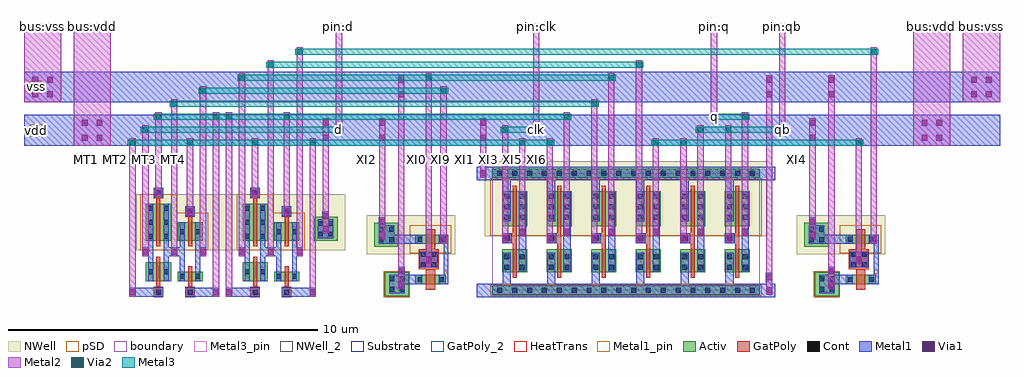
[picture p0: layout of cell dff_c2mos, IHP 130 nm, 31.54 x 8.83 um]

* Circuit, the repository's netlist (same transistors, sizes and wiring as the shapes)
** sch_path: /foss/designs/Designs/bidir-level-shifter/xschem/schematics/dff_c2mos.sch
.subckt dff_c2mos d clk q qb vdd vss
*.PININFO d:B q:B qb:B clk:B vdd:B vss:B
MMT1N net1 clkb d vss sg13_lv_nmos w=0.6u l=0.13u ng=1
MMT1P net1 clki d vdd sg13_lv_pmos w=1.2u l=0.13u ng=1
MMT3N net3 clki net2 vss sg13_lv_nmos w=0.6u l=0.13u ng=1
MMT3P net3 clkb net2 vdd sg13_lv_pmos w=1.2u l=0.13u ng=1
MMT2P net1 clkb net4 vdd sg13_lv_pmos w=0.6u l=0.13u ng=1
MMT2N net1 clki net4 vss sg13_lv_nmos w=0.3u l=0.13u ng=1
MMT4P net3 clki net5 vdd sg13_lv_pmos w=0.6u l=0.13u ng=1
MMT4N net3 clkb net5 vss sg13_lv_nmos w=0.3u l=0.13u ng=1
XI1 net2 net1 vdd vss sg13cmos5l_inv_1
XI3 net6 net3 vdd vss sg13cmos5l_inv_1
XI5 qb net6 vdd vss sg13cmos5l_inv_1
XI6 q qb vdd vss sg13cmos5l_inv_1
XI2 net2 net4 vdd vss INVLVW
XI4 net6 net5 vdd vss INVLVW
XI0 clkb clk vdd vss sg13cmos5l_inv_1
XI9 clki clkb vdd vss sg13cmos5l_inv_1
.ends

* expanding   symbol:  logic_gates/sg13cmos5l_inv_1.sym # of pins=4
** sym_path: /foss/designs/Designs/bidir-level-shifter/xschem/logic_gates/sg13cmos5l_inv_1.sym
** sch_path: /foss/designs/Designs/bidir-level-shifter/xschem/logic_gates/sg13cmos5l_inv_1.sch
.subckt sg13cmos5l_inv_1 Y A VDD VSS
*.PININFO Y:B A:B VDD:B VSS:B
MMN0 Y A VSS VSS sg13_lv_nmos w=0.74u l=0.13u ng=1
MMP0 Y A VDD VDD sg13_lv_pmos w=1.12u l=0.13u ng=1
.ends


* expanding   symbol:  logic_gates/INVLVW.sym # of pins=4
** sym_path: /foss/designs/Designs/bidir-level-shifter/xschem/logic_gates/INVLVW.sym
** sch_path: /foss/designs/Designs/bidir-level-shifter/xschem/logic_gates/INVLVW.sch
.subckt INVLVW a y vdd vss
*.PININFO vdd:B vss:B y:B a:B
MMP y a vdd vdd sg13_lv_pmos w=0.3u l=0.3u ng=1
MMN y a vss vss sg13_lv_nmos w=0.3u l=0.3u ng=1
.ends

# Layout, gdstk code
import gdstk
lib = gdstk.Library(unit=1e-6, precision=1e-09)
def R(c, l, rs):  # rectangles x0, y0, x1, y1
    for r in rs: c.add(gdstk.rectangle(r[:2], r[2:], *l))
def A(c, l, x, y, w, h, nx, ny, dx, dy):  # array of equal rectangles
    R(c, l, [(x+i*dx, y+j*dy, x+i*dx+w, y+j*dy+h) for i in range(nx) for j in range(ny)])
def P(c, l, *ps):  # polygons
    for p in ps: c.add(gdstk.Polygon(p, *l))
Activ = (1, 0)
GatPoly = (5, 0)
GatPoly_2 = (5, 2)
Cont = (6, 0)
Metal1 = (8, 0)
Metal1_pin = (8, 2)
Metal2 = (10, 0)
pSD = (14, 0)
Via1 = (19, 0)
Via2 = (29, 0)
Metal3 = (30, 0)
Metal3_pin = (30, 2)
NWell = (31, 0)
NWell_2 = (31, 2)
Substrate = (40, 0)
HeatTrans = (51, 0)
boundary = (189, 4)

nmos_1 = lib.new_cell('nmos$1')
R(nmos_1, Activ, [(0,0,0.3,0.3), (0,0,0.81,0.6), (0.51,0,0.81,0.3)])
R(nmos_1, GatPoly, [(0.34,-0.18,0.47,0.78)])
R(nmos_1, GatPoly_2, [(0.34,-0.18,0.47,0.78)])
R(nmos_1, Cont, [(0.07,0.22,0.23,0.38), (0.58,0.22,0.74,0.38)])
R(nmos_1, Metal1, [(0.07,0,0.23,0.6), (0.58,0,0.74,0.6)])
R(nmos_1, Metal1_pin, [(0.07,0,0.23,0.6), (0.58,0,0.74,0.6)])
R(nmos_1, HeatTrans, [(0.34,-0.18,0.47,0.78)])
nmos_1.add(gdstk.Label('nmos', (0.405,0.3), layer=63, texttype=0))
nmos_1.add(gdstk.Label('nmos', (0.405,0.3), layer=51, texttype=0))

pmos_1 = lib.new_cell('pmos$1')
R(pmos_1, Activ, [(0,0,0.3,0.3), (0,0,0.81,1.2), (0.51,0,0.81,0.3)])
R(pmos_1, GatPoly, [(0.34,-0.18,0.47,1.38), (0.34,-0.18,0.47,1.38)])
A(pmos_1, Cont, 0.07, 0.07, 0.16, 0.16, 1, 3, 0, 0.45)
A(pmos_1, Cont, 0.58, 0.07, 0.16, 0.16, 1, 3, 0, 0.45)
R(pmos_1, Metal1, [(0.07,0,0.23,1.2), (0.07,0,0.23,1.2), (0.58,0,0.74,1.2), (0.58,0,0.74,1.2)])
R(pmos_1, pSD, [(-0.18,-0.3,0.99,1.5)])
R(pmos_1, NWell, [(-0.31,-0.31,1.12,1.51)])
R(pmos_1, HeatTrans, [(0.34,-0.18,0.47,1.38)])
pmos_1.add(gdstk.Label('pmos', (0.405,0.6), layer=63, texttype=0))
pmos_1.add(gdstk.Label('pmos', (0.405,0.6), layer=51, texttype=0))

nmos_2 = lib.new_cell('nmos$2')
R(nmos_2, Activ, [(0,0,0.3,0.3), (0,0,0.81,0.3), (0.51,0,0.81,0.3)])
R(nmos_2, GatPoly, [(0.34,-0.18,0.47,0.48)])
R(nmos_2, GatPoly_2, [(0.34,-0.18,0.47,0.48)])
R(nmos_2, Cont, [(0.07,0.07,0.23,0.23), (0.58,0.07,0.74,0.23)])
R(nmos_2, Metal1, [(0.07,0,0.23,0.3), (0.58,0,0.74,0.3)])
R(nmos_2, Metal1_pin, [(0.07,0,0.23,0.3), (0.58,0,0.74,0.3)])
R(nmos_2, HeatTrans, [(0.34,-0.18,0.47,0.48)])
nmos_2.add(gdstk.Label('nmos', (0.405,0.15), layer=63, texttype=0))
nmos_2.add(gdstk.Label('nmos', (0.405,0.15), layer=51, texttype=0))

pmos_2 = lib.new_cell('pmos$2')
R(pmos_2, Activ, [(0,0,0.3,0.3), (0,0,0.81,0.6), (0.51,0,0.81,0.3)])
R(pmos_2, GatPoly, [(0.34,-0.18,0.47,0.78), (0.34,-0.18,0.47,0.78)])
R(pmos_2, Cont, [(0.07,0.22,0.23,0.38), (0.58,0.22,0.74,0.38)])
R(pmos_2, Metal1, [(0.07,0,0.23,0.6), (0.07,0,0.23,0.6), (0.58,0,0.74,0.6), (0.58,0,0.74,0.6)])
R(pmos_2, pSD, [(-0.18,-0.3,0.99,0.9)])
R(pmos_2, NWell, [(-0.31,-0.31,1.12,0.91)])
R(pmos_2, HeatTrans, [(0.34,-0.18,0.47,0.78)])
pmos_2.add(gdstk.Label('pmos', (0.405,0.3), layer=63, texttype=0))
pmos_2.add(gdstk.Label('pmos', (0.405,0.3), layer=51, texttype=0))

ntap1 = lib.new_cell('ntap1')
R(ntap1, Activ, [(0,0,0.78,0.78)])
R(ntap1, Cont, [(0.14,0.14,0.3,0.3), (0.48,0.14,0.64,0.3), (0.14,0.48,0.3,0.64), (0.48,0.48,0.64,0.64)])
R(ntap1, Metal1, [(0.14,0.09,0.64,0.69)])
R(ntap1, Metal1_pin, [(0.14,0.09,0.64,0.69), (0.14,0.14,0.64,0.64)])
R(ntap1, NWell, [(-0.24,-0.24,1.02,1.02), (0,0,0.78,0.78)])
R(ntap1, NWell_2, [(0,0,0.78,0.78)])
ntap1.add(gdstk.Label('well', (0.39,0.01), layer=31, texttype=0))
ntap1.add(gdstk.Label('well', (0.39,0.01), layer=63, texttype=0))

pmos = lib.new_cell('pmos')
R(pmos, Activ, [(0,0,0.3,0.3), (0,0,0.98,0.3), (0.68,0,0.98,0.3)])
R(pmos, GatPoly, [(0.34,-0.18,0.64,0.48), (0.34,-0.18,0.64,0.48)])
R(pmos, Cont, [(0.07,0.07,0.23,0.23), (0.75,0.07,0.91,0.23)])
R(pmos, Metal1, [(0.07,0,0.23,0.3), (0.07,0,0.23,0.3), (0.75,0,0.91,0.3), (0.75,0,0.91,0.3)])
R(pmos, pSD, [(-0.18,-0.3,1.16,0.6)])
R(pmos, NWell, [(-0.31,-0.31,1.29,0.61)])
R(pmos, HeatTrans, [(0.34,-0.18,0.64,0.48)])
pmos.add(gdstk.Label('pmos', (0.49,0.15), layer=63, texttype=0))
pmos.add(gdstk.Label('pmos', (0.49,0.15), layer=51, texttype=0))

nmos = lib.new_cell('nmos')
R(nmos, Activ, [(0,0,0.3,0.3), (0,0,0.98,0.3), (0.68,0,0.98,0.3)])
R(nmos, GatPoly, [(0.34,-0.18,0.64,0.48)])
R(nmos, GatPoly_2, [(0.34,-0.18,0.64,0.48)])
R(nmos, Cont, [(0.07,0.07,0.23,0.23), (0.75,0.07,0.91,0.23)])
R(nmos, Metal1, [(0.07,0,0.23,0.3), (0.75,0,0.91,0.3)])
R(nmos, Metal1_pin, [(0.07,0,0.23,0.3), (0.75,0,0.91,0.3)])
R(nmos, HeatTrans, [(0.34,-0.18,0.64,0.48)])
nmos.add(gdstk.Label('nmos', (0.49,0.15), layer=63, texttype=0))
nmos.add(gdstk.Label('nmos', (0.49,0.15), layer=51, texttype=0))

ptap1 = lib.new_cell('ptap1')
R(ptap1, Activ, [(0,0,0.78,0.78)])
R(ptap1, Cont, [(0.14,0.14,0.3,0.3), (0.48,0.14,0.64,0.3), (0.14,0.48,0.3,0.64), (0.48,0.48,0.64,0.64)])
R(ptap1, Metal1, [(0.14,0.09,0.64,0.69), (0.14,0.14,0.64,0.64)])
R(ptap1, Metal1_pin, [(0.14,0.14,0.64,0.64)])
R(ptap1, pSD, [(-0.03,-0.03,0.81,0.81)])
R(ptap1, Substrate, [(0,0,0.78,0.78)])
ptap1.add(gdstk.Label('sub!', (0.39,0.01), layer=63, texttype=0))
ptap1.add(gdstk.Label('sub!', (0.39,0.01), layer=40, texttype=0))

via_stack = lib.new_cell('via_stack')
R(via_stack, GatPoly, [(-0.32,-0.32,0.32,0.32)])
R(via_stack, Cont, [(-0.25,-0.25,-0.09,-0.09), (0.09,-0.25,0.25,-0.09), (-0.25,0.09,-0.09,0.25), (0.09,0.09,0.25,0.25)])
R(via_stack, Metal1, [(-0.3,-0.25,0.3,0.25)])

invlvw = lib.new_cell('invlvw')
R(invlvw, Metal1, [(1.22,0.43,1.64,0.73), (2.48,0.43,2.64,2.03), (0.88,1.73,1.64,2.03)])
R(invlvw, Metal1_pin, [(1.66,0.5,1.79,0.63), (2.49,0.76,2.62,0.89), (1.99,1.18,2.12,1.31), (1.655,1.815,1.785,1.945)])
R(invlvw, NWell, [(0,1.4,2.86,2.66)])
invlvw.add(gdstk.Reference(ntap1, (0.24,1.64)))
invlvw.add(gdstk.Reference(pmos, (1.57,1.73)))
invlvw.add(gdstk.Reference(nmos, (1.57,0.43)))
invlvw.add(gdstk.Reference(ptap1, (0.58,0.04)))
invlvw.add(gdstk.Reference(via_stack, (2,1.23)))
invlvw.add(gdstk.Label('vdd', (1.72,1.88), layer=8, texttype=25))
invlvw.add(gdstk.Label('a', (2.05,1.24), layer=8, texttype=25))
invlvw.add(gdstk.Label('vss', (1.724,0.574), layer=8, texttype=25))
invlvw.add(gdstk.Label('y', (2.543,0.833), layer=8, texttype=25))
invlvw.add(gdstk.Label('MMP', (1.26,2.13), layer=63, texttype=0))
invlvw.add(gdstk.Label('MMN', (1.601,0.771), layer=63, texttype=0))

sg13cmos5l_inv_1 = lib.new_cell('sg13cmos5l_inv_1')
R(sg13cmos5l_inv_1, Activ, [(0,-0.15,1.44,0.15), (0.31,0.59,1.12,1.33), (0.31,2.075,1.12,3.195), (0,3.63,1.44,3.93)])
P(sg13cmos5l_inv_1, GatPoly, [(0.65,0.41),(0.65,1.52),(0.31,1.52),(0.31,1.85),(0.65,1.85),(0.65,3.375),(0.78,3.375),(0.78,0.41)])
A(sg13cmos5l_inv_1, Cont, 0.38, 2.285, 0.16, 0.16, 1, 3, 0, 0.34)
A(sg13cmos5l_inv_1, Cont, 0.89, 2.285, 0.16, 0.16, 1, 3, 0, 0.34)
R(sg13cmos5l_inv_1, Cont, [(0.16,-0.08,0.32,0.08), (0.16,-0.08,0.32,0.08), (0.64,-0.08,0.8,0.08), (0.64,-0.08,0.8,0.08), (1.12,-0.08,1.28,0.08), (1.12,-0.08,1.28,0.08), (0.38,0.66,0.54,0.82), (0.89,0.66,1.05,0.82), (0.38,1,0.54,1.16), (0.89,1,1.05,1.16), (0.395,1.605,0.555,1.765), (0.16,3.7,0.32,3.86), (0.16,3.7,0.32,3.86), (0.64,3.7,0.8,3.86), (0.64,3.7,0.8,3.86), (1.12,3.7,1.28,3.86), (1.12,3.7,1.28,3.86)])
R(sg13cmos5l_inv_1, Metal1, [(0.855,0.61,1.085,3.175), (0.31,1.52,0.625,1.85)])
P(sg13cmos5l_inv_1, Metal1, [(0,-0.22),(0,0.22),(0.33,0.22),(0.33,1.21),(0.59,1.21),(0.59,0.22),(1.44,0.22),(1.44,-0.22)],
  [(0.33,2.235),(0.33,3.56),(0,3.56),(0,4),(1.44,4),(1.44,3.56),(0.59,3.56),(0.59,2.235)])
R(sg13cmos5l_inv_1, Metal1_pin, [(0,-0.22,1.44,0.22), (0.855,0.61,1.085,3.175), (0.31,1.52,0.625,1.85), (0,3.56,1.44,4)])
R(sg13cmos5l_inv_1, pSD, [(-0.07,-0.18,1.51,0.18), (-0.07,1.76,1.51,3.6)])
R(sg13cmos5l_inv_1, NWell, [(-0.24,1.75,1.68,4.17)])
R(sg13cmos5l_inv_1, boundary, [(0,0,1.44,3.78)])
sg13cmos5l_inv_1.add(gdstk.Label('VDD', (0.705,3.78), layer=8, texttype=25))
sg13cmos5l_inv_1.add(gdstk.Label('VSS', (0.72,-0.02), layer=8, texttype=25))
sg13cmos5l_inv_1.add(gdstk.Label('A', (0.48,1.68), layer=8, texttype=25))
sg13cmos5l_inv_1.add(gdstk.Label('Y', (0.98,1.69), layer=8, texttype=25))

dff_c2mos = lib.new_cell('dff_c2mos')
R(dff_c2mos, GatPoly, [(0.795,0.01,1.095,0.34), (1.815,0.01,2.115,0.34), (3.915,0.01,4.215,0.34), (4.935,0.01,5.235,0.34), (1.815,2.6,2.115,2.93), (4.935,2.6,5.235,2.93), (0.795,3.2,1.095,3.53), (3.915,3.2,4.215,3.53)])
R(dff_c2mos, Cont, [(0.865,0.08,1.025,0.24), (1.885,0.08,2.045,0.24), (3.985,0.08,4.145,0.24), (5.005,0.08,5.165,0.24), (1.885,2.7,2.045,2.86), (5.005,2.7,5.165,2.86), (0.865,3.3,1.025,3.46), (3.985,3.3,4.145,3.46)])
A(dff_c2mos, Metal1, 0.42, 1.325, 0.21, 0.29, 3, 1, 0.93, 0)
A(dff_c2mos, Metal1, 3.54, 1.325, 0.21, 0.29, 3, 1, 0.93, 0)
A(dff_c2mos, Metal1, 12.045, 1.76, 0.21, 0.29, 6, 1, 1.44, 0)
A(dff_c2mos, Metal1, 12.59, 1.965, 0.21, 0.29, 6, 1, 1.44, 0)
R(dff_c2mos, Metal1, [(0.795,0,1.095,0.32), (1.815,0,2.115,0.32), (3.915,0,4.215,0.32), (4.935,0,5.235,0.32), (11.235,0,11.735,0.44), (20.375,0,20.875,0.44), (0,0.015,0.945,0.305), (0,0.015,0.21,0.305), (0.21,0.015,0.945,0.305), (1.965,0.015,2.91,0.305), (1.965,0.015,2.7,0.305), (2.7,0.015,2.91,0.305), (3.12,0.015,4.065,0.305), (3.12,0.015,3.33,0.305), (3.33,0.015,4.065,0.305), (5.085,0.015,6.03,0.305), (5.085,0.015,5.82,0.305), (5.82,0.015,6.03,0.305), (20.57,0.075,20.78,0.365), (20.57,0.075,20.78,0.785), (8.685,0.275,8.895,0.565), (8.685,0.275,8.895,0.985), (22.585,0.275,22.795,0.565), (22.585,0.275,22.795,0.985), (0.61,0.52,0.77,3.02), (1.12,0.52,1.28,3.02), (1.63,0.52,1.79,2.42), (2.14,0.52,2.3,2.42), (3.73,0.52,3.89,3.02), (4.24,0.52,4.4,3.02), (4.75,0.52,4.91,2.42), (5.26,0.52,5.42,2.42), (9.57,1.075,9.78,1.365), (23.47,1.075,23.68,1.365), (0.42,1.325,0.77,1.615), (1.12,1.325,1.79,1.615), (2.14,1.325,2.49,1.615), (3.54,1.325,3.89,1.615), (4.24,1.325,4.91,1.615), (5.26,1.325,5.61,1.615), (10.05,1.725,10.26,2.015), (23.95,1.725,24.16,2.015), (8.07,1.875,8.28,2.165), (8.07,1.875,8.28,2.585), (21.97,1.875,22.18,2.165), (21.97,1.875,22.18,2.585), (6.24,2.065,6.45,2.355), (6.24,2.065,6.45,2.775), (1.815,2.62,2.115,2.94), (4.935,2.62,5.235,2.94), (1.86,2.635,2.07,2.925), (4.98,2.635,5.19,2.925), (0.795,3.22,1.095,3.54), (3.915,3.22,4.215,3.54), (0.84,3.235,1.05,3.525), (3.96,3.235,4.17,3.525), (11.235,3.78,11.735,4.22), (20.375,3.78,20.875,4.22), (11.33,3.855,11.54,4.145), (11.33,3.855,11.54,4.565), (-3.4,4.89,28.135,5.89), (-3.4,6.29,28.135,7.29)])
R(dff_c2mos, Metal1_pin, [(-3.2,5.19,-2.8,5.59), (-3.2,6.59,-2.8,6.99)])
R(dff_c2mos, Metal2, [(0.005,0.015,0.205,5.135), (2.705,0.015,2.905,5.975), (3.125,0.015,3.325,5.975), (5.825,0.015,6.025,5.135), (20.575,0.075,20.775,7.175), (8.69,0.275,8.89,7.175), (22.59,0.275,22.79,7.175), (9.575,1.075,9.775,7.235), (23.475,1.075,23.675,5.135), (0.425,1.325,0.625,5.555), (1.355,1.325,1.555,6.395), (2.285,1.325,2.485,6.815), (3.545,1.325,3.745,7.235), (4.475,1.325,4.675,7.655), (5.405,1.325,5.605,8.075), (10.055,1.725,10.255,6.815), (23.955,1.725,24.155,8.075), (12.05,1.76,12.25,5.555), (13.49,1.76,13.69,5.135), (14.93,1.76,15.13,6.395), (16.37,1.76,16.57,7.655), (17.81,1.76,18.01,5.135), (19.25,1.76,19.45,5.555), (8.075,1.875,8.275,5.775), (21.975,1.875,22.175,5.775), (12.595,1.965,12.795,5.135), (14.035,1.965,14.235,5.975), (15.475,1.965,15.675,7.235), (16.915,1.965,17.115,5.135), (18.355,1.965,18.555,5.555), (19.795,1.965,19.995,5.975), (6.245,2.065,6.445,5.775), (1.865,2.635,2.065,5.135), (4.985,2.635,5.185,5.975), (0.845,3.235,1.045,5.975), (3.965,3.235,4.165,5.135), (11.335,3.855,11.535,5.775), (-1.8,4.89,-0.6,8.83), (25.335,4.89,26.535,8.83), (6.675,5.265,6.875,8.83), (13.05,5.265,13.25,8.83), (21,5.265,21.2,8.83), (18.795,5.685,18.995,8.83), (-3.4,6.29,-2.2,8.83), (26.935,6.29,28.135,8.83)])
A(dff_c2mos, Via1, 0.43, 1.375, 0.19, 0.19, 3, 1, 0.93, 0)
A(dff_c2mos, Via1, 3.55, 1.375, 0.19, 0.19, 3, 1, 0.93, 0)
A(dff_c2mos, Via1, 12.055, 1.81, 0.19, 0.19, 6, 1, 1.44, 0)
A(dff_c2mos, Via1, 12.6, 2.015, 0.19, 0.19, 6, 1, 1.44, 0)
R(dff_c2mos, Via1, [(0.01,0.065,0.2,0.255), (2.71,0.065,2.9,0.255), (3.13,0.065,3.32,0.255), (5.83,0.065,6.02,0.255), (20.58,0.125,20.77,0.315), (8.695,0.325,8.885,0.515), (22.595,0.325,22.785,0.515), (20.58,0.545,20.77,0.735), (8.695,0.745,8.885,0.935), (22.595,0.745,22.785,0.935), (9.58,1.125,9.77,1.315), (23.48,1.125,23.67,1.315), (10.06,1.775,10.25,1.965), (23.96,1.775,24.15,1.965), (8.08,1.925,8.27,2.115), (21.98,1.925,22.17,2.115), (6.25,2.115,6.44,2.305), (8.08,2.345,8.27,2.535), (21.98,2.345,22.17,2.535), (6.25,2.535,6.44,2.725), (1.87,2.685,2.06,2.875), (4.99,2.685,5.18,2.875), (0.85,3.285,1.04,3.475), (3.97,3.285,4.16,3.475), (11.34,3.905,11.53,4.095), (11.34,4.325,11.53,4.515), (-1.535,5.055,-1.345,5.245), (-1.055,5.055,-0.865,5.245), (6.25,5.055,6.44,5.245), (8.08,5.055,8.27,5.245), (11.34,5.055,11.53,5.245), (21.98,5.055,22.17,5.245), (25.6,5.055,25.79,5.245), (26.08,5.055,26.27,5.245), (-1.535,5.535,-1.345,5.725), (-1.055,5.535,-0.865,5.725), (6.25,5.535,6.44,5.725), (8.08,5.535,8.27,5.725), (11.34,5.535,11.53,5.725), (21.98,5.535,22.17,5.725), (25.6,5.535,25.79,5.725), (26.08,5.535,26.27,5.725), (-3.135,6.455,-2.945,6.645), (-2.655,6.455,-2.465,6.645), (8.695,6.455,8.885,6.645), (20.58,6.455,20.77,6.645), (22.595,6.455,22.785,6.645), (27.2,6.455,27.39,6.645), (27.68,6.455,27.87,6.645), (-3.135,6.935,-2.945,7.125), (-2.655,6.935,-2.465,7.125), (8.695,6.935,8.885,7.125), (20.58,6.935,20.77,7.125), (22.595,6.935,22.785,7.125), (27.2,6.935,27.39,7.125), (27.68,6.935,27.87,7.125)])
R(dff_c2mos, Via2, [(0.01,4.895,0.2,5.085), (1.87,4.895,2.06,5.085), (3.97,4.895,4.16,5.085), (5.83,4.895,6.02,5.085), (12.6,4.895,12.79,5.085), (13.495,4.895,13.685,5.085), (16.92,4.895,17.11,5.085), (17.815,4.895,18.005,5.085), (23.48,4.895,23.67,5.085), (0.43,5.315,0.62,5.505), (6.68,5.315,6.87,5.505), (12.055,5.315,12.245,5.505), (13.055,5.315,13.245,5.505), (18.36,5.315,18.55,5.505), (19.255,5.315,19.445,5.505), (21.005,5.315,21.195,5.505), (0.85,5.735,1.04,5.925), (2.71,5.735,2.9,5.925), (3.13,5.735,3.32,5.925), (4.99,5.735,5.18,5.925), (14.04,5.735,14.23,5.925), (18.8,5.735,18.99,5.925), (19.8,5.735,19.99,5.925), (1.36,6.155,1.55,6.345), (14.935,6.155,15.125,6.345), (2.29,6.575,2.48,6.765), (10.06,6.575,10.25,6.765), (3.55,6.995,3.74,7.185), (9.58,6.995,9.77,7.185), (15.48,6.995,15.67,7.185), (4.48,7.415,4.67,7.605), (16.375,7.415,16.565,7.605), (5.41,7.835,5.6,8.025), (23.96,7.835,24.15,8.025)])
R(dff_c2mos, Metal3, [(-0.04,4.89,13.735,5.09), (16.87,4.89,23.72,5.09), (0.38,5.31,6.92,5.51), (12.005,5.31,13.295,5.51), (18.31,5.31,21.245,5.51), (0.8,5.73,14.28,5.93), (18.75,5.73,20.04,5.93), (1.31,6.15,15.175,6.35), (2.24,6.57,10.3,6.77), (3.5,6.99,15.72,7.19), (4.43,7.41,16.615,7.61), (5.36,7.83,24.2,8.03)])
R(dff_c2mos, Metal3_pin, [(6.71,5.345,6.84,5.475), (13.085,5.345,13.215,5.475), (21.035,5.345,21.165,5.475), (18.83,5.765,18.96,5.895)])
R(dff_c2mos, NWell, [(0.23,1.51,6.975,3.33)])
dff_c2mos.add(gdstk.Reference(nmos_1, (0.54,0.52)))
dff_c2mos.add(gdstk.Reference(pmos_1, (0.54,1.82)))
dff_c2mos.add(gdstk.Reference(nmos_2, (1.56,0.52)))
dff_c2mos.add(gdstk.Reference(pmos_2, (1.56,1.82)))
dff_c2mos.add(gdstk.Reference(nmos_1, (3.66,0.52)))
dff_c2mos.add(gdstk.Reference(pmos_1, (3.66,1.82)))
dff_c2mos.add(gdstk.Reference(nmos_2, (4.68,0.52)))
dff_c2mos.add(gdstk.Reference(pmos_2, (4.68,1.82)))
dff_c2mos.add(gdstk.Reference(ntap1, (5.955,1.82)))
dff_c2mos.add(gdstk.Reference(invlvw, (7.675,-0.01)))
dff_c2mos.add(gdstk.Reference(sg13cmos5l_inv_1, (11.735,0.22)))
dff_c2mos.add(gdstk.Reference(sg13cmos5l_inv_1, (13.175,0.22)))
dff_c2mos.add(gdstk.Reference(sg13cmos5l_inv_1, (14.615,0.22)))
dff_c2mos.add(gdstk.Reference(sg13cmos5l_inv_1, (16.055,0.22)))
dff_c2mos.add(gdstk.Reference(sg13cmos5l_inv_1, (17.495,0.22)))
dff_c2mos.add(gdstk.Reference(sg13cmos5l_inv_1, (18.935,0.22)))
dff_c2mos.add(gdstk.Reference(invlvw, (21.575,-0.01)))
dff_c2mos.add(gdstk.Label('vdd', (-3,5.39), layer=8, texttype=25))
dff_c2mos.add(gdstk.Label('vss', (-3,6.79), layer=8, texttype=25))
dff_c2mos.add(gdstk.Label('d', (6.775,5.41), layer=30, texttype=25))
dff_c2mos.add(gdstk.Label('clk', (13.15,5.41), layer=30, texttype=25))
dff_c2mos.add(gdstk.Label('q', (18.895,5.83), layer=30, texttype=25))
dff_c2mos.add(gdstk.Label('qb', (21.1,5.41), layer=30, texttype=25))
dff_c2mos.add(gdstk.Label('MT1 MT2 MT3 MT4', (0,4.44), layer=63, texttype=0))
dff_c2mos.add(gdstk.Label('XI2', (7.675,4.44), layer=63, texttype=0))
dff_c2mos.add(gdstk.Label('XI0 XI9 XI1 XI3 XI5 XI6', (11.235,4.44), layer=63, texttype=0))
dff_c2mos.add(gdstk.Label('XI4', (21.575,4.44), layer=63, texttype=0))
dff_c2mos.add(gdstk.Label('pin:d', (6.775,8.73), layer=63, texttype=0))
dff_c2mos.add(gdstk.Label('pin:clk', (13.15,8.73), layer=63, texttype=0))
dff_c2mos.add(gdstk.Label('pin:q', (18.895,8.73), layer=63, texttype=0))
dff_c2mos.add(gdstk.Label('pin:qb', (21.1,8.73), layer=63, texttype=0))
dff_c2mos.add(gdstk.Label('bus:vdd', (-1.2,8.73), layer=63, texttype=0))
dff_c2mos.add(gdstk.Label('bus:vdd', (25.935,8.73), layer=63, texttype=0))
dff_c2mos.add(gdstk.Label('bus:vss', (-2.8,8.73), layer=63, texttype=0))
dff_c2mos.add(gdstk.Label('bus:vss', (27.535,8.73), layer=63, texttype=0))

lib.write_gds('dff_c2mos.gds')
